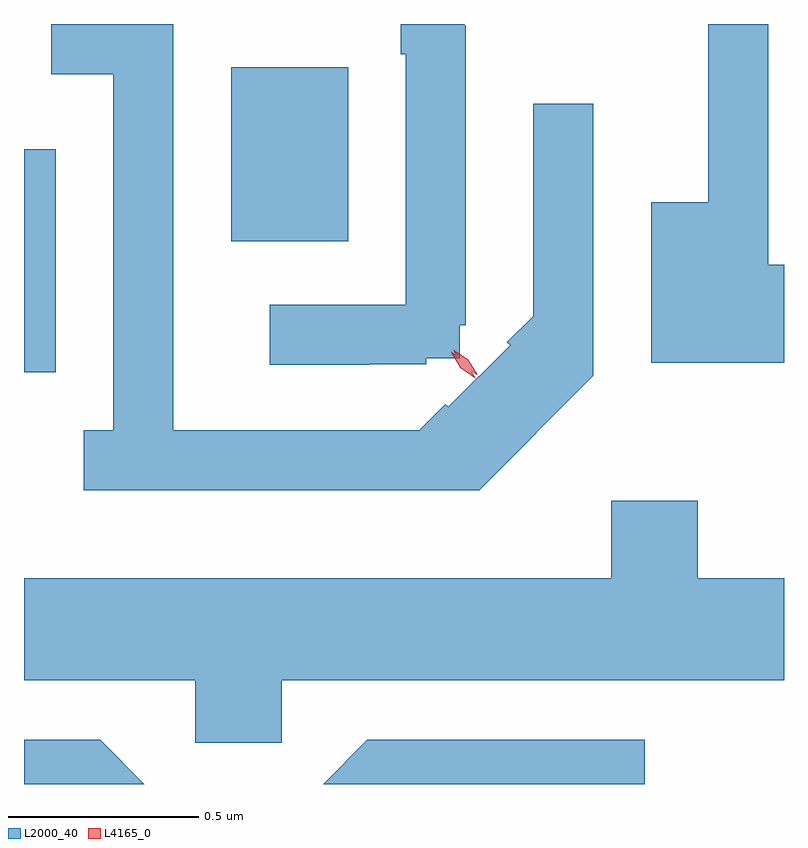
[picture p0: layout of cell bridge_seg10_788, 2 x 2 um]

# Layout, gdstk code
import gdstk
lib = gdstk.Library(unit=1e-6, precision=1e-09)
def R(c, l, rs):  # rectangles x0, y0, x1, y1
    for r in rs: c.add(gdstk.rectangle(r[:2], r[2:], *l))
def P(c, l, *ps):  # polygons
    for p in ps: c.add(gdstk.Polygon(p, *l))
L2000_40 = (2000, 40)
L4165_0 = (4165, 0)

bridge_seg10_788 = lib.new_cell('bridge_seg10_788')
R(bridge_seg10_788, L2000_40, [(606.486,2154.686,606.569,2155.273), (607.031,2155.031,607.339,2155.489)])
P(bridge_seg10_788, L2000_40, [(607.984,2154.677),(607.984,2155.393),(607.826,2155.393),(607.826,2154.834),(607.757,2154.765),(607.765,2154.758),(607.602,2154.596),(607.595,2154.603),(607.526,2154.534),(606.879,2154.534),(606.879,2155.603),(606.558,2155.603),(606.558,2155.471),(606.721,2155.471),(606.721,2154.534),(606.643,2154.534),(606.643,2154.376),(607.684,2154.376)],
  [(608.486,2154.969),(608.444,2154.969),(608.444,2155.603),(608.286,2155.603),(608.286,2155.134),(608.136,2155.134),(608.136,2154.711),(608.486,2154.711)],
  [(607.395,2154.707),(607.545,2154.707),(607.545,2154.723),(607.633,2154.723),(607.633,2154.81),(607.648,2154.81),(607.648,2154.96),(607.649,2154.96),(607.649,2155.598),(607.644,2155.603),(607.478,2155.603),(607.478,2155.523),(607.491,2155.523),(607.491,2154.864),(607.133,2154.864),(607.133,2154.706),(607.395,2154.706)],
  [(607.164,2153.876),(608.486,2153.876),(608.486,2154.144),(608.259,2154.144),(608.259,2154.349),(608.031,2154.349),(608.031,2154.144),(606.486,2154.144),(606.486,2153.876),(606.936,2153.876),(606.936,2153.711),(607.164,2153.711)],
  [(608.119,2153.719),(607.389,2153.719),(607.273,2153.603),(608.119,2153.603)],
  [(606.687,2153.719),(606.486,2153.719),(606.486,2153.603),(606.803,2153.603)])
P(bridge_seg10_788, L4165_0, [(607.673,2154.671),(607.634,2154.699),(607.61,2154.739),(607.61,2154.74),(607.61,2154.74),(607.649,2154.712),(607.674,2154.672),(607.674,2154.671)],
  [(607.678,2154.68),(607.641,2154.705),(607.617,2154.743),(607.617,2154.744),(607.618,2154.744),(607.655,2154.719),(607.679,2154.681),(607.679,2154.68)])

lib.write_gds('bridge_seg10_788.gds')
